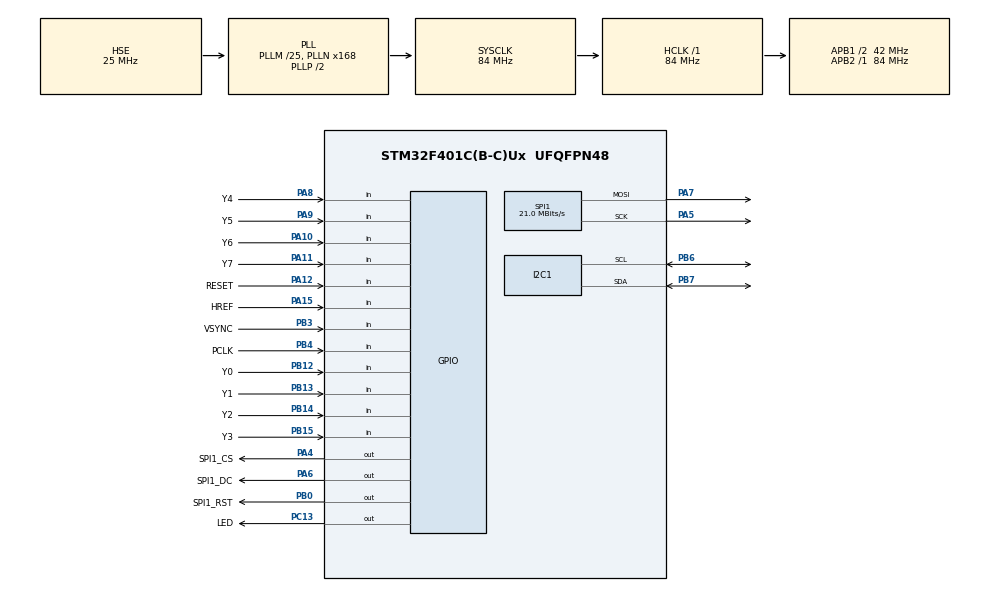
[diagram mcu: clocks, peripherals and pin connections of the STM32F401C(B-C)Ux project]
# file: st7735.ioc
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Mcu.Family=STM32F4
Mcu.Name=STM32F401C(B-C)Ux
Mcu.Package=UFQFPN48
NVIC.PriorityGroup=NVIC_PRIORITYGROUP_4
NVIC.TIM1_UP_TIM10_IRQn=true\:0\:0\:false\:false\:true\:true\:true
PA10.GPIO_Label=Y6
PA10.Signal=GPIO_Input
PA11.GPIO_Label=Y7
PA11.Signal=GPIO_Input
PA12.GPIO_Label=RESET
PA12.Signal=GPIO_Input
PA13.Mode=Serial_Wire
PA13.Signal=SYS_JTMS-SWDIO
PA14.Mode=Serial_Wire
PA14.Signal=SYS_JTCK-SWCLK
PA15.GPIO_Label=HREF
PA15.Signal=GPIO_Input
PA4.GPIO_Label=SPI1_CS
PA4.Signal=GPIO_Output
PA5.Mode=TX_Only_Simplex_Unidirect_Master
PA5.Signal=SPI1_SCK
PA6.GPIO_Label=SPI1_DC
PA6.Signal=GPIO_Output
PA7.Mode=TX_Only_Simplex_Unidirect_Master
PA7.Signal=SPI1_MOSI
PA8.GPIO_Label=Y4
PA8.Signal=GPIO_Input
PA9.GPIO_Label=Y5
PA9.Signal=GPIO_Input
PB0.GPIO_Label=SPI1_RST
PB0.Signal=GPIO_Output
PB12.GPIO_Label=Y0
PB12.Signal=GPIO_Input
PB13.GPIO_Label=Y1
PB13.Signal=GPIO_Input
PB14.GPIO_Label=Y2
PB14.Signal=GPIO_Input
PB15.GPIO_Label=Y3
PB15.Signal=GPIO_Input
PB3.GPIO_Label=VSYNC
PB3.Signal=GPIO_Input
PB4.GPIO_Label=PCLK
PB4.Signal=GPIO_Input
PB6.Mode=I2C
PB6.Signal=I2C1_SCL
PB7.Mode=I2C
PB7.Signal=I2C1_SDA
PC13-ANTI_TAMP.GPIO_Label=LED
PC13-ANTI_TAMP.Signal=GPIO_Output
PH0\ -\ OSC_IN.Mode=HSE-External-Oscillator
PH0\ -\ OSC_IN.Signal=RCC_OSC_IN
PH1\ -\ OSC_OUT.Mode=HSE-External-Oscillator
PH1\ -\ OSC_OUT.Signal=RCC_OSC_OUT
ProjectManager.HeapSize=0x200
ProjectManager.StackSize=0x400
ProjectManager.TargetToolchain=MDK-ARM V5.27
RCC.48MHZClocksFreq_Value=42000000
RCC.AHBFreq_Value=84000000
RCC.APB1CLKDivider=RCC_HCLK_DIV2
RCC.APB1Freq_Value=42000000
RCC.APB1TimFreq_Value=84000000
RCC.APB2Freq_Value=84000000
RCC.APB2TimFreq_Value=84000000
RCC.CortexFreq_Value=84000000
RCC.HCLKFreq_Value=84000000
RCC.HSE_VALUE=25000000
RCC.HSI_VALUE=16000000
RCC.LSE_VALUE=32768
RCC.PLLM=25
RCC.PLLN=168
RCC.PLLSourceVirtual=RCC_PLLSOURCE_HSE
RCC.SYSCLKFreq_VALUE=84000000
RCC.SYSCLKSource=RCC_SYSCLKSOURCE_PLLCLK
RCC.VCOOutputFreq_Value=168000000
SPI1.BaudRatePrescaler=SPI_BAUDRATEPRESCALER_4
SPI1.CalculateBaudRate=21.0 MBits/s
SPI1.Direction=SPI_DIRECTION_2LINES
SPI1.Mode=SPI_MODE_MASTER
SPI1.VirtualType=VM_MASTER
TIM1.AutoReloadPreload=TIM_AUTORELOAD_PRELOAD_ENABLE
TIM1.Period=10000 - 1
TIM1.Prescaler=8400 - 1
TIM2.Period=100 - 1
TIM2.Prescaler=84 - 1
VP_TIM1_VS_ClockSourceINT.Mode=Internal
VP_TIM2_VS_ClockSourceINT.Mode=Internal
board=custom

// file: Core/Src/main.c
/* USER CODE BEGIN Header */
/**
  ******************************************************************************
    @file           : main.c
    @brief          : Main program body
  ******************************************************************************
    @attention

    <h2><center>&copy; Copyright (c) 2022 STMicroelectronics.
    All rights reserved.</center></h2>

    This software component is licensed by ST under BSD 3-Clause license,
    the "License"; You may not use this file except in compliance with the
    License. You may obtain a copy of the License at:
                           opensource.org/licenses/BSD-3-Clause

  ******************************************************************************
*/
/* USER CODE END Header */
#include "main.h"
#include "i2c.h"
#include "spi.h"
#include "tim.h"
#include "gpio.h"

/* USER CODE BEGIN Includes */

#include "st7735.h"
#include "fonts.h"
#include "ov2640.h"

/* USER CODE END Includes */

void SystemClock_Config(void);
/* USER CODE BEGIN PFP */

void timer_start(void);
uint16_t timer_end(void);

/* USER CODE END PFP */

/* USER CODE BEGIN 0 */

const uint8_t OV_WIDTH = 160;
const uint8_t OV_HEIGHT = 80;
uint8_t image[OV_HEIGHT][OV_WIDTH * 2] = {0};

uint16_t ov_id;
uint32_t fps = 0;

char info[5] = "-----";

/* USER CODE END 0 */

int main(void)
{

  /* MCU Configuration--------------------------------------------------------*/

  /* Reset of all peripherals, Initializes the Flash interface and the Systick. */
  HAL_Init();

  /* Configure the system clock */
  SystemClock_Config();

  /* Initialize all configured peripherals */
  MX_GPIO_Init();
  MX_SPI1_Init();
  MX_TIM1_Init();
  MX_I2C1_Init();
  MX_TIM2_Init();
  /* USER CODE BEGIN 2 */

  ST7735_Init();
  ST7735_FillScreen(ST7735_BLACK);

  ov_id = ov2640_ReadID(CAMERA_I2C_ADDRESS);

  if (ov_id != OV2640_ID) {
    ST7735_WriteString(8, 27, "No OV2640", Font_16x26, ST7735_RED, ST7735_BLACK);
    while (1);
  }

  // initial 0v2640
  HAL_GPIO_WritePin(RESET_GPIO_Port, RESET_Pin, GPIO_PIN_RESET);
  HAL_Delay(10);
  HAL_GPIO_WritePin(RESET_GPIO_Port, RESET_Pin, GPIO_PIN_SET);

  ov2640_Init(CAMERA_I2C_ADDRESS, CAMERA_R160x120);
  ov2640_Config(CAMERA_I2C_ADDRESS, CAMERA_BLACK_WHITE, CAMERA_BLACK_WHITE_BW, CAMERA_BLACK_WHITE_BW);

  CAMERA_IO_Write(CAMERA_I2C_ADDRESS, 0XFF, 0X00);
  CAMERA_IO_Write(CAMERA_I2C_ADDRESS, 0XD3, 12);
  CAMERA_IO_Write(CAMERA_I2C_ADDRESS, 0XFF, 0X01);
  CAMERA_IO_Write(CAMERA_I2C_ADDRESS, 0x11, 1);

  HAL_Delay(200);
  HAL_TIM_Base_Start_IT(&htim1);

  /* USER CODE END 2 */

  /* Infinite loop */
  while (1)
  {

    /* USER CODE BEGIN 3 */

    HAL_GPIO_TogglePin(LED_GPIO_Port, LED_Pin);

    HAL_Delay(100);
  }
  /* USER CODE END 3 */
}

void SystemClock_Config(void)
{
  RCC_OscInitTypeDef RCC_OscInitStruct = {0};
  RCC_ClkInitTypeDef RCC_ClkInitStruct = {0};

  /** Configure the main internal regulator output voltage
  */
  __HAL_RCC_PWR_CLK_ENABLE();
  __HAL_PWR_VOLTAGESCALING_CONFIG(PWR_REGULATOR_VOLTAGE_SCALE2);
  /** Initializes the RCC Oscillators according to the specified parameters
  * in the RCC_OscInitTypeDef structure.
  */
  RCC_OscInitStruct.OscillatorType = RCC_OSCILLATORTYPE_HSE;
  RCC_OscInitStruct.HSEState = RCC_HSE_ON;
  RCC_OscInitStruct.PLL.PLLState = RCC_PLL_ON;
  RCC_OscInitStruct.PLL.PLLSource = RCC_PLLSOURCE_HSE;
  RCC_OscInitStruct.PLL.PLLM = 25;
  RCC_OscInitStruct.PLL.PLLN = 168;
  RCC_OscInitStruct.PLL.PLLP = RCC_PLLP_DIV2;
  RCC_OscInitStruct.PLL.PLLQ = 4;
  if (HAL_RCC_OscConfig(&RCC_OscInitStruct) != HAL_OK)
  {
    Error_Handler();
  }
  /** Initializes the CPU, AHB and APB buses clocks
  */
  RCC_ClkInitStruct.ClockType = RCC_CLOCKTYPE_HCLK|RCC_CLOCKTYPE_SYSCLK
                              |RCC_CLOCKTYPE_PCLK1|RCC_CLOCKTYPE_PCLK2;
  RCC_ClkInitStruct.SYSCLKSource = RCC_SYSCLKSOURCE_PLLCLK;
  RCC_ClkInitStruct.AHBCLKDivider = RCC_SYSCLK_DIV1;
  RCC_ClkInitStruct.APB1CLKDivider = RCC_HCLK_DIV2;
  RCC_ClkInitStruct.APB2CLKDivider = RCC_HCLK_DIV1;

  if (HAL_RCC_ClockConfig(&RCC_ClkInitStruct, FLASH_LATENCY_2) != HAL_OK)
  {
    Error_Handler();
  }
}

/* USER CODE BEGIN 4 */

void get_image() {
  HAL_GPIO_TogglePin(LED_GPIO_Port, LED_Pin);
  while (HAL_GPIO_ReadPin(VSYNC_GPIO_Port, VSYNC_Pin));

  for (uint8_t index_row = 0; index_row < OV_HEIGHT; index_row++) {
    while (!HAL_GPIO_ReadPin(HREF_GPIO_Port, HREF_Pin));

    uint16_t index_col = 0;
    uint8_t data = 0x00;

    while (HAL_GPIO_ReadPin(HREF_GPIO_Port, HREF_Pin)) {
      while (!HAL_GPIO_ReadPin(PCLK_GPIO_Port, PCLK_Pin));

      data = 0x00;
      data |= (Y0_GPIO_Port->IDR & 0xf000) >> 12;
      data |= (Y4_GPIO_Port->IDR & 0x0f00) >> 4;

      image[index_row][index_col++] = data;

      while (HAL_GPIO_ReadPin(PCLK_GPIO_Port, PCLK_Pin));
    }
  }

  // display
  uint16_t i = 0, j = 0;
  for (j = 0; j < OV_HEIGHT; j++) {
    for (i = 0; i < OV_WIDTH; i++) {
      if (j < 10 && i < 35) {
      } else {
        // red filter
        // ST7735_DrawPixel(i, j, (image[j][i * 2] | (image[j][i * 2 + 1] << 8)) & 0xf800);
        // green filter
        // ST7735_DrawPixel(i, j, (image[j][i * 2] | (image[j][i * 2 + 1] << 8)) & 0x07e0);
        // blue filter
        // ST7735_DrawPixel(i, j, (image[j][i * 2] | (image[j][i * 2 + 1] << 8)) & 0x001f);

        ST7735_DrawPixel(i, j, (image[j][i * 2] | (image[j][i * 2 + 1] << 8)));
      }
    }
  }
}

void HAL_TIM_PeriodElapsedCallback(TIM_HandleTypeDef* htim) {
  timer_start();

  get_image();

  fps = timer_end();

  info[4] = fps % 10 + '0';
  info[3] = fps / 10 % 10 + '0';
  info[2] = fps / 100 % 10 + '0';
  info[1] = fps / 1000 % 10 + '0';
  info[0] = fps / 10000 % 10 + '0';

  ST7735_WriteString(0, 0, info, Font_7x10, ST7735_GREEN, ST7735_BLACK);
}

void timer_start() {
  HAL_TIM_Base_Start_IT(&htim2);
  __HAL_TIM_SET_COUNTER(&htim2, 0);
}

uint16_t timer_end() {
  uint16_t period = __HAL_TIM_GetCounter(&htim2);

  HAL_TIM_Base_Stop_IT(&htim2);

  return period;
}

/* USER CODE END 4 */

void Error_Handler(void)
{
}

/************************ (C) COPYRIGHT STMicroelectronics *****END OF FILE****/
